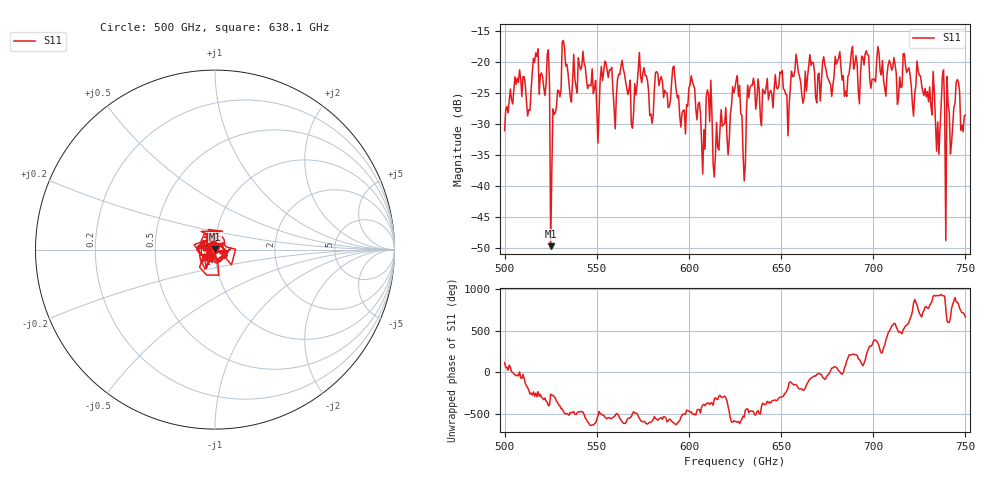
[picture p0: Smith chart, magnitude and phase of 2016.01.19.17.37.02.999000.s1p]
!Created with skrf (http://scikit-rf.org).
# GHz S RI R 50.0
!freq ReS11 ImS11
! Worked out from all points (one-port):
!   401 points, 500 GHz to 750 GHz, reference 50 ohm
!   lowest |S11| = -49.7 dB at 525 GHz (marker M1), VSWR 1.01, Z = 50 + j0.324 ohm
!   |S11| at or under -10 dB: start of sweep to end of sweep
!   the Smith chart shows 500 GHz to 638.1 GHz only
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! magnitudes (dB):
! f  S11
! 500 GHz  -31.1
! 506.9 GHz  -22.6
! 513.1 GHz  -27.7
! 516.9 GHz  -18.5
! 523.1 GHz  -18.8
! 525 GHz  -49.7
! 526.2 GHz  -27.6
! 531.2 GHz  -16.8
! 550 GHz  -27.2
! 562.5 GHz  -22.1
! 570 GHz  -28.2
! 574.4 GHz  -23.4
! 579.4 GHz  -28.4
! 583.1 GHz  -21.9
! 593.8 GHz  -25.8
! 601.9 GHz  -23.1
! 607.5 GHz  -38.1
! 610.6 GHz  -25.2
! 614.4 GHz  -35.1
! 625 GHz  -24.2
! 629.4 GHz  -34.9
! 634.4 GHz  -23.8
! 656.2 GHz  -22.4
! 687.5 GHz  -20.4
! 718.8 GHz  -21.3
! 735 GHz  -29.7
! 745.6 GHz  -22.8
! 750 GHz  -28.6
